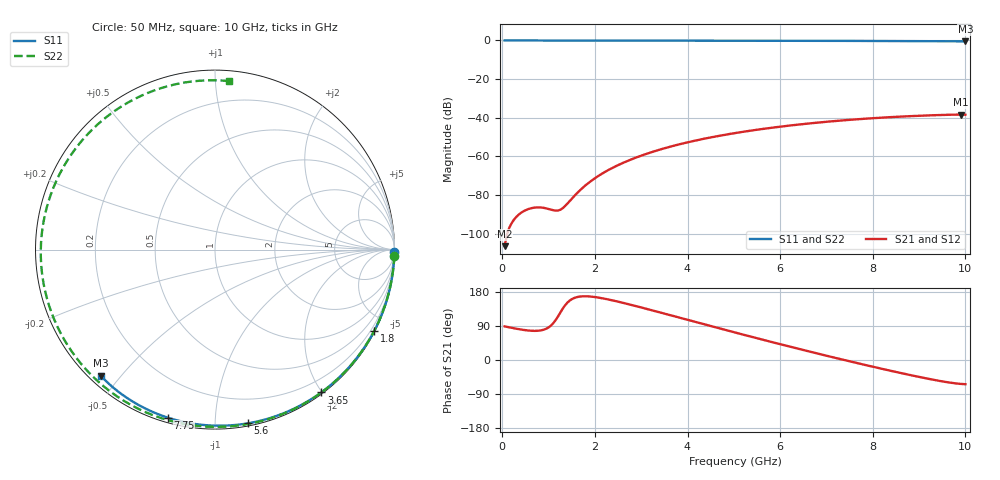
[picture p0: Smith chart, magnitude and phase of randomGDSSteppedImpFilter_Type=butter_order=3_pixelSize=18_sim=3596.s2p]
! freq	dB(S11)	phase(S11)	dB(S12)	phase(S12)
!  dB(S21)	phase(S21)	dB(S22)	phase(S22)
!S-par simulation data
#  GHz  S  DB  R 50
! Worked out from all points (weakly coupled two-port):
!   200 points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, 50 MHz to 10 GHz, reference 50 ohm
!   highest |S21| = -38.39 dB at 9.9 GHz (marker M1); lowest = -106.5 dB at 50 MHz (marker M2)
!   lowest |S11| = -0.5 dB at 10 GHz (marker M3), VSWR 36.84, Z = 1.62 - j22.2 ohm
!   |S11| at or under -10 dB: nowhere
!   |S22| runs from -0.5 to 0.0 dB; largest |S21 - S12| = 0
!   S11 on the Smith chart (normalised r, x): 50 MHz: open; 1.8 GHz: 0.04, -4.18; 3.65 GHz: 0.02, -1.99; 5.6 GHz: 0.02, -1.21; 7.75 GHz: 0.02, -0.76; 10 GHz: 0.03, -0.44
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0.05  -0.00 -0.8  -106.53 88.7  -106.53 88.7  -0.00 -1.9
0.4  -0.01 -6.1  -89.34 80.5  -89.34 80.5  -0.02 -15.0
0.75  -0.01 -11.3  -86.46 77.0  -86.46 77.0  -0.04 -27.8
1.15  -0.02 -17.3  -88.12 105.0  -88.12 105.0  -0.05 -42.2
1.55  -0.03 -23.2  -80.67 163.4  -80.67 163.4  -0.07 -56.1
1.75  -0.03 -26.2  -76.00 168.1  -76.00 168.1  -0.08 -62.9
1.8  -0.03 -26.9  -74.98 168.2  -74.98 168.2  -0.08 -64.6
2.1  -0.04 -31.3  -69.78 164.2  -69.78 164.2  -0.09 -74.4
2.45  -0.05 -36.4  -65.14 155.4  -65.14 155.4  -0.10 -85.4
2.9  -0.06 -42.8  -60.53 141.8  -60.53 141.8  -0.12 -98.9
3.4  -0.07 -49.9  -56.54 125.7  -56.54 125.7  -0.13 -113.0
3.65  -0.07 -53.3  -54.86 117.5  -54.86 117.5  -0.14 -119.9
4.35  -0.09 -62.9  -50.94 94.5  -50.94 94.5  -0.17 -138.1
5.05  -0.11 -72.2  -47.87 71.8  -47.87 71.8  -0.20 -155.3
5.6  -0.13 -79.3  -45.90 54.3  -45.90 54.3  -0.23 -168.3
6.15  -0.15 -86.2  -44.23 37.1  -44.23 37.1  -0.26 178.8
6.7  -0.18 -93.0  -42.80 20.3  -42.80 20.3  -0.30 166.1
7.75  -0.24 -105.7  -40.66 -10.6  -40.66 -10.6  -0.37 141.5
8.35  -0.29 -112.7  -39.75 -27.5  -39.75 -27.5  -0.41 127.0
9.15  -0.36 -122.0  -38.86 -48.4  -38.86 -48.4  -0.46 107.1
9.9  -0.45 -130.9  -38.39 -63.1  -38.39 -63.1  -0.51 87.8
10  -0.47 -132.1  -38.45 -63.8  -38.45 -63.8  -0.52 85.2
